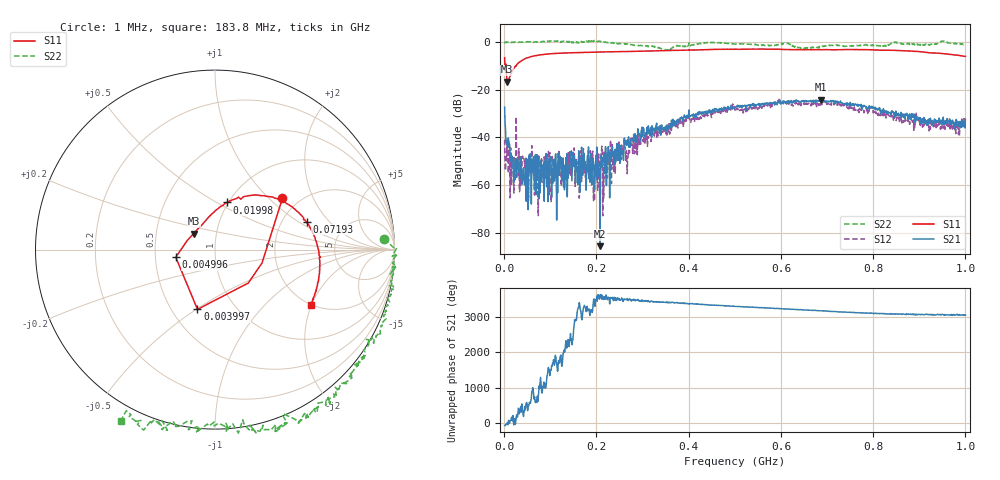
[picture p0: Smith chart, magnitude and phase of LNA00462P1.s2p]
! Created with skrf 1.9.0 (http://scikit-rf.org).
# Hz S RI R 50.0
!freq ReS11 ImS11 ReS21 ImS21 ReS12 ImS12 ReS22 ImS22
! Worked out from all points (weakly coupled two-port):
!   1001 points, 1 MHz to 1 GHz, reference 50 ohm
!   highest |S21| = -24.19 dB at 686.3 MHz (marker M1); lowest = -85.7 dB at 207.8 MHz (marker M2)
!   lowest |S11| = -16.6 dB at 6.994 MHz (marker M3), VSWR 1.35, Z = 38.8 + j7.06 ohm
!   |S11| at or under -10 dB: 1.728 MHz to 3.663 MHz (1.935 MHz wide, 71.8 % of centre); 4.206 MHz to 24.59 MHz (20.39 MHz wide, 142 % of centre); 25.83 MHz to 26.01 MHz (180 kHz wide, 0.694 % of centre)
!   |S22| runs from -3.5 to 0.8 dB; largest |S21 - S12| = 0.035
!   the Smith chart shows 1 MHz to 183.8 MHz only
!   S11 on the Smith chart (normalised r, x): 1 MHz: 1.65, +1.21; 3.997 MHz: 0.67, -0.51; 4.996 MHz: 0.64, -0.06; 19.98 MHz: 0.99, +0.56; 71.93 MHz: 2.70, +1.18; 183.8 MHz: 1.97, -1.97
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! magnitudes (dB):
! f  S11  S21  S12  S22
! 1 MHz  -6.5  -27.3  -40.9  -0.5
! 3.997 MHz  -9.2  -42.3  -48.6  0.1
! 4.996 MHz  -13.0  -41.5  -48.0  -0.1
! 6.994 MHz  -16.6  -41.1  -50.1  0.0
! 19.98 MHz  -11.3  -55.7  -48.6  -0.1
! 26.97 MHz  -9.5  -56.8  -47.2  0.1
! 42.96 MHz  -7.1  -56.4  -48.9  0.2
! 58.94 MHz  -6.0  -68.0  -50.7  0.0
! 71.93 MHz  -5.5  -55.8  -50.9  0.2
! 116.9 MHz  -4.6  -50.9  -46.8  0.3
! 167.8 MHz  -4.3  -44.1  -58.6  0.3
! 183.8 MHz  -4.2  -57.3  -55.5  0.7
! 198.8 MHz  -4.2  -49.5  -47.5  0.4
! 207.8 MHz  -4.1  -85.7  -51.5  0.5
! 218.8 MHz  -4.0  -55.2  -50.5  0.1
! 225.8 MHz  -4.0  -43.9  -51.4  -0.2
! 334.7 MHz  -3.5  -35.6  -39.3  -2.1
! 500.5 MHz  -2.9  -27.7  -28.6  -0.7
! 667.3 MHz  -3.1  -25.1  -25.3  -2.0
! 686.3 MHz  -3.1  -24.2  -25.6  -1.9
! 834.2 MHz  -3.3  -29.6  -30.9  -1.2
! 1 GHz  -5.9  -32.3  -33.6  -0.8
